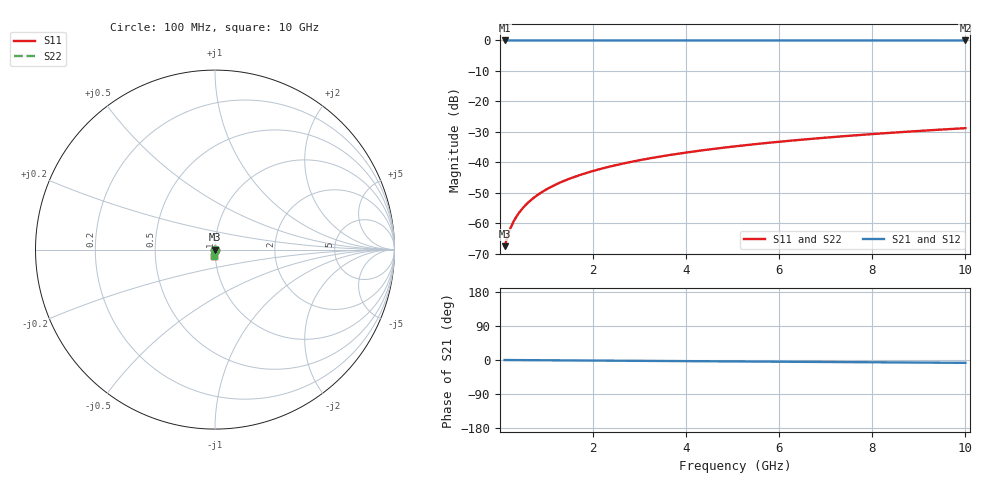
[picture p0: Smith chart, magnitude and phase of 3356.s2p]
# Hz S RI R 50.00
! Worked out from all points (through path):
!   100 points, 100 MHz to 10 GHz, reference 50 ohm
!   highest |S21| = 0.00 dB at 100 MHz (marker M1); lowest = 0.0 dB at 10 GHz (marker M2)
!   group delay of S21, straight-line fit = 2.08 ps
!   lowest |S11| = -67.5 dB at 100 MHz (marker M3), VSWR 1.00, Z = 50 - j0.0361 ohm
!   |S11| at or under -10 dB: start of sweep to end of sweep
!   |S22| runs from -67.5 to -28.8 dB; largest |S21 - S12| = 0
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1e8  0.00022 -0.000361  0.9998 -0.0013  0.9998 -0.0013  0.00022 -0.000361
2e8  0.00022 -0.000722  0.9998 -0.00259  0.9998 -0.00259  0.00022 -0.000722
3e8  0.000218 -0.00108  0.9998 -0.00389  0.9998 -0.00389  0.000218 -0.00108
4e8  0.000214 -0.00144  0.9998 -0.00518  0.9998 -0.00518  0.000214 -0.00144
5e8  0.00021 -0.0018  0.9997 -0.00648  0.9997 -0.00648  0.00021 -0.0018
6e8  0.000205 -0.00217  0.9997 -0.00778  0.9997 -0.00778  0.000205 -0.00217
7e8  0.000199 -0.00253  0.9997 -0.00907  0.9997 -0.00907  0.000199 -0.00253
8e8  0.000191 -0.00289  0.9997 -0.0104  0.9997 -0.0104  0.000191 -0.00289
9e8  0.000183 -0.00325  0.9997 -0.0117  0.9997 -0.0117  0.000183 -0.00325
1.1e9  0.000164 -0.00397  0.9997 -0.0143  0.9997 -0.0143  0.000164 -0.00397
1.4e9  0.000128 -0.00506  0.9996 -0.0182  0.9996 -0.0182  0.000128 -0.00506
1.8e9  6.6e-05 -0.00651  0.9995 -0.0233  0.9995 -0.0233  6.6e-05 -0.00651
2.1e9  9.78e-06 -0.00759  0.9993 -0.0272  0.9993 -0.0272  9.78e-06 -0.00759
2.5e9  -7.86e-05 -0.00904  0.9992 -0.0324  0.9992 -0.0324  -7.86e-05 -0.00904
2.9e9  -0.000182 -0.0105  0.999 -0.0376  0.999 -0.0376  -0.000182 -0.0105
3.4e9  -0.000333 -0.0123  0.9987 -0.0441  0.9987 -0.0441  -0.000333 -0.0123
4.2e9  -0.000625 -0.0152  0.9981 -0.0546  0.9981 -0.0546  -0.000625 -0.0152
5.1e9  -0.00103 -0.0185  0.9973 -0.0663  0.9973 -0.0663  -0.00103 -0.0185
5.9e9  -0.00145 -0.0214  0.9965 -0.0768  0.9965 -0.0768  -0.00145 -0.0214
6.7e9  -0.00193 -0.0243  0.9956 -0.0872  0.9956 -0.0872  -0.00193 -0.0243
8.4e9  -0.00317 -0.0304  0.9932 -0.1095  0.9932 -0.1095  -0.00317 -0.0304
1e10  -0.00458 -0.0361  0.9904 -0.1305  0.9904 -0.1305  -0.00458 -0.0361
